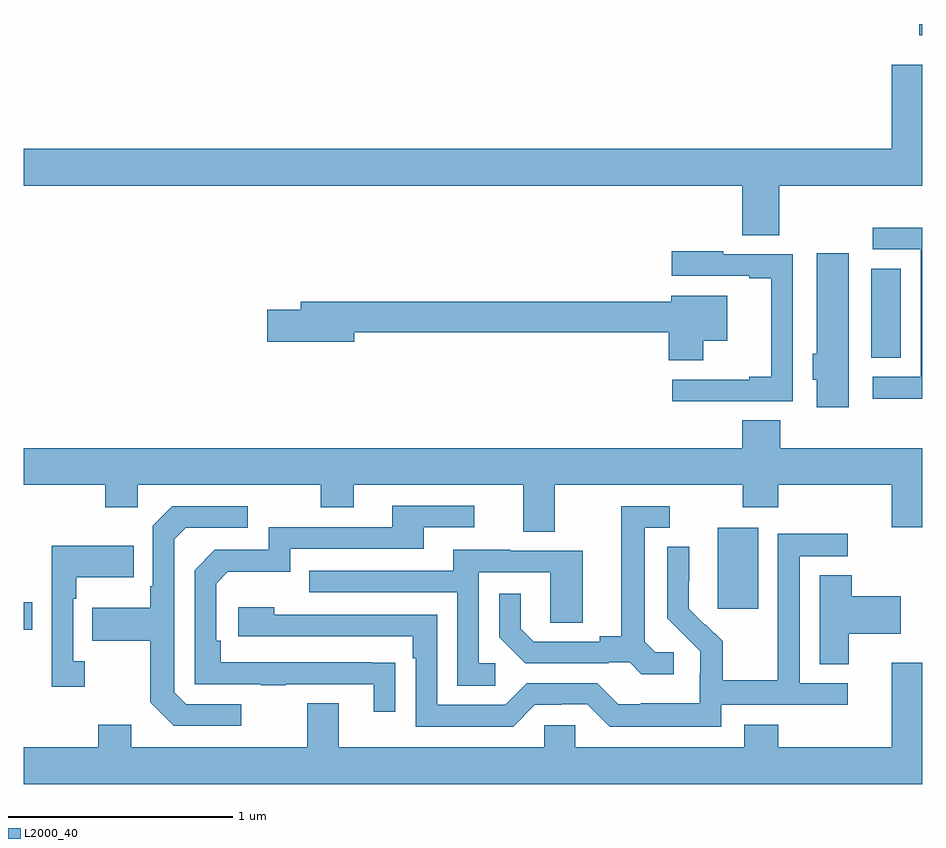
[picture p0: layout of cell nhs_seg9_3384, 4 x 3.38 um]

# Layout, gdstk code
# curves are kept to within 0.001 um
import gdstk
lib = gdstk.Library(unit=1e-6, precision=1e-09)
def R(c, l, rs):  # rectangles x0, y0, x1, y1
    for r in rs: c.add(gdstk.rectangle(r[:2], r[2:], *l))
def P(c, l, *ps):  # polygons
    for p in ps: c.add(gdstk.Polygon(p, *l))
L2000_40 = (2000, 40)

nhs_seg9_3384 = lib.new_cell('nhs_seg9_3384')
R(nhs_seg9_3384, L2000_40, [(305,1167.803,305.038,1167.925), (308.09,1167.897,308.269,1168.258), (308.774,1169.014,308.905,1169.411), (308.988,1170.449,309,1170.5)])
P(nhs_seg9_3384, L2000_40, [(308.364,1169.78),(309,1169.78),(309,1170.319),(308.864,1170.319),(308.864,1169.944),(305,1169.944),(305,1169.78),(308.198,1169.78),(308.198,1169.56),(308.364,1169.56)],
  [(309,1169.592),(308.781,1169.592),(308.781,1169.496),(308.994,1169.496),(308.994,1168.929),(308.781,1168.929),(308.781,1168.831),(309,1168.831)],
  [(308.114,1168.821),(308.424,1168.821),(308.424,1169.475),(308.114,1169.475),(308.114,1169.488),(307.884,1169.488),(307.884,1169.379),(308.231,1169.379),(308.231,1169.367),(308.327,1169.367),(308.327,1168.93),(308.231,1168.93),(308.231,1168.917),(307.887,1168.917),(307.887,1168.82),(308.114,1168.82)],
  [(308.674,1169.479),(308.531,1169.479),(308.531,1169.031),(308.513,1169.031),(308.513,1168.917),(308.531,1168.917),(308.531,1168.794),(308.674,1168.794)],
  [(308.025,1169.09),(308.131,1169.09),(308.131,1169.29),(307.883,1169.29),(307.883,1169.264),(306.233,1169.264),(306.233,1169.228),(306.084,1169.228),(306.084,1169.086),(306.472,1169.086),(306.472,1169.128),(307.871,1169.128),(307.871,1169.002),(308.025,1169.002)],
  [(307.363,1168.448),(308.2,1168.448),(308.2,1168.349),(308.36,1168.349),(308.36,1168.448),(308.864,1168.448),(308.864,1168.26),(309,1168.26),(309,1168.612),(308.369,1168.612),(308.369,1168.736),(308.198,1168.736),(308.198,1168.612),(305,1168.612),(305,1168.448),(305.362,1168.448),(305.362,1168.349),(305.508,1168.349),(305.508,1168.448),(306.322,1168.448),(306.322,1168.349),(306.469,1168.349),(306.469,1168.448),(307.223,1168.448),(307.223,1168.24),(307.363,1168.24)],
  [(306.653,1167.656),(305.876,1167.657),(305.876,1167.754),(305.856,1167.754),(305.856,1168.008),(305.909,1168.061),(306.186,1168.061),(306.186,1168.164),(306.781,1168.164),(306.781,1168.26),(307.006,1168.26),(307.006,1168.356),(306.641,1168.356),(306.641,1168.26),(306.09,1168.26),(306.09,1168.158),(305.85,1168.158),(305.76,1168.068),(305.76,1167.561),(306.055,1167.561),(306.055,1167.556),(306.167,1167.556),(306.167,1167.561),(306.557,1167.561),(306.557,1167.438),(306.653,1167.438)],
  [(307.894,1167.702),(307.812,1167.702),(307.765,1167.749),(307.765,1168.257),(307.876,1168.257),(307.876,1168.353),(307.661,1168.353),(307.661,1167.773),(307.565,1167.773),(307.565,1167.75),(307.27,1167.75),(307.213,1167.807),(307.213,1167.964),(307.116,1167.964),(307.116,1167.77),(307.232,1167.654),(307.604,1167.654),(307.604,1167.657),(307.698,1167.657),(307.75,1167.605),(307.894,1167.605)],
  [(305.968,1167.471),(305.724,1167.471),(305.67,1167.525),(305.67,1168.206),(305.721,1168.257),(305.998,1168.257),(305.998,1168.353),(305.661,1168.353),(305.574,1168.266),(305.574,1167.997),(305.562,1167.997),(305.562,1167.901),(305.305,1167.901),(305.305,1167.754),(305.562,1167.754),(305.562,1167.481),(305.667,1167.375),(305.968,1167.375)],
  [(308.106,1167.468),(308.668,1167.468),(308.668,1167.564),(308.454,1167.564),(308.454,1168.131),(308.668,1168.131),(308.668,1168.23),(308.358,1168.23),(308.358,1167.8),(308.356,1167.8),(308.356,1167.577),(308.111,1167.577),(308.111,1167.751),(308.034,1167.828),(308.031,1167.825),(307.961,1167.896),(307.962,1168.172),(307.866,1168.172),(307.866,1167.854),(308.012,1167.706),(308.012,1167.609),(308.01,1167.609),(308.01,1167.475),(307.747,1167.475),(307.747,1167.471),(307.647,1167.471),(307.554,1167.564),(307.239,1167.564),(307.143,1167.468),(306.84,1167.468),(306.84,1167.87),(306.116,1167.87),(306.116,1167.904),(305.955,1167.904),(305.955,1167.774),(306.731,1167.774),(306.731,1167.677),(306.744,1167.677),(306.744,1167.372),(307.179,1167.372),(307.275,1167.468),(307.394,1167.468),(307.394,1167.471),(307.509,1167.471),(307.609,1167.371),(308.106,1167.371)],
  [(305.272,1167.662),(305.22,1167.662),(305.22,1167.941),(305.233,1167.941),(305.233,1168.037),(305.489,1168.037),(305.489,1168.177),(305.124,1168.177),(305.124,1167.549),(305.272,1167.549)],
  [(307.099,1167.654),(307.026,1167.654),(307.026,1168.059),(307.344,1168.059),(307.344,1167.835),(307.489,1167.835),(307.489,1168.155),(307.165,1168.155),(307.165,1168.159),(306.911,1168.159),(306.911,1168.065),(306.271,1168.065),(306.271,1167.969),(306.93,1167.969),(306.93,1167.553),(307.099,1167.553)],
  [(308.674,1167.785),(308.905,1167.785),(308.905,1167.951),(308.687,1167.951),(308.687,1168.046),(308.543,1168.046),(308.543,1167.649),(308.674,1167.649)],
  [(309,1167.655),(308.864,1167.655),(308.864,1167.28),(308.36,1167.28),(308.36,1167.379),(308.207,1167.379),(308.207,1167.28),(307.455,1167.28),(307.455,1167.378),(307.317,1167.378),(307.317,1167.28),(306.403,1167.28),(306.403,1167.475),(306.263,1167.475),(306.263,1167.28),(305.479,1167.28),(305.479,1167.379),(305.332,1167.379),(305.332,1167.28),(305,1167.28),(305,1167.116),(309,1167.116)])

lib.write_gds('nhs_seg9_3384.gds')
